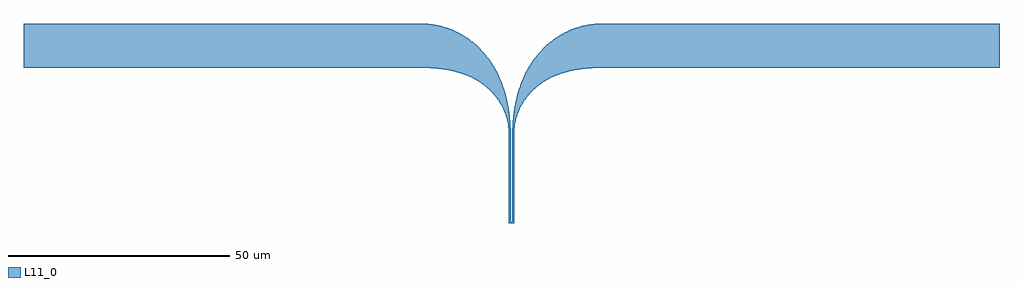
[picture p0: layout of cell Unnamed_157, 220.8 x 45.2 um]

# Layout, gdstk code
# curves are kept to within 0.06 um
from math import pi, radians
import gdstk
lib = gdstk.Library(unit=1e-6, precision=1e-09)
def R(c, l, rs):  # rectangles x0, y0, x1, y1
    for r in rs: c.add(gdstk.rectangle(r[:2], r[2:], *l))
def P(c, l, *ps):  # polygons
    for p in ps: c.add(gdstk.Polygon(p, *l))
L11_0 = (11, 0)

unnamed_161 = lib.new_cell('Unnamed_161')
P(unnamed_161, L11_0, [(0,-0.2),(0,0.2),(19.8,0.2),(19.8,0.4),(20.2,0.4),(20.2,-0.2)])

unnamed_160 = lib.new_cell('Unnamed_160')
P(unnamed_160, L11_0, [(19.8,-20),(19.685,-18.25),(19.405,-16.775),(18.964,-15.345),(18.261,-13.758),(17.372,-12.283),(16.482,-11.123),(15.319,-9.904),(14.048,-8.838),(12.699,-7.928),(11.097,-7.073),(9.464,-6.403),(7.828,-5.896),(6.009,-5.492),(4.226,-5.23),(2.288,-5.064),(0,-5),(0,5),(1.896,4.9),(4.077,4.535),(6.191,3.91),(8.204,3.043),(10.088,1.957),(11.822,0.677),(13.387,-0.767),(14.774,-2.342),(16.138,-4.266),(17.27,-6.279),(18.183,-8.344),(18.971,-10.694),(19.638,-13.564),(20.054,-16.667),(20.2,-20)])

unnamed_159 = lib.new_cell('Unnamed_159')
R(unnamed_159, L11_0, [(0,-5,90,5)])

unnamed_158 = lib.new_cell('Unnamed_158')
unnamed_158.add(gdstk.Reference(unnamed_161, (110,-20), rotation=3*pi/2))
unnamed_158.add(gdstk.Reference(unnamed_160, (90,0)))
unnamed_158.add(gdstk.Reference(unnamed_159, (0,0)))

unnamed_157 = lib.new_cell('Unnamed_157')
unnamed_157.add(gdstk.Reference(unnamed_158, (220.8,0), rotation=pi, x_reflection=True))
unnamed_157.add(gdstk.Reference(unnamed_158, (0,0)))

lib.write_gds('Unnamed_157.gds')
